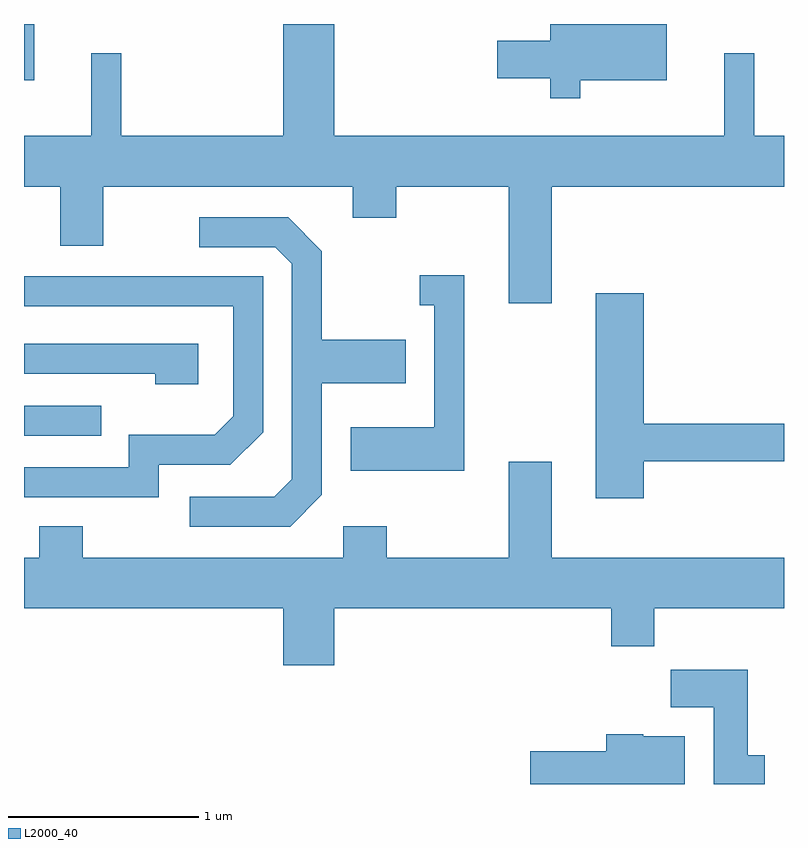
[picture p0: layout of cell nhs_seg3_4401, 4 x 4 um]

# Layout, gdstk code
import gdstk
lib = gdstk.Library(unit=1e-6, precision=1e-09)
def R(c, l, rs):  # rectangles x0, y0, x1, y1
    for r in rs: c.add(gdstk.rectangle(r[:2], r[2:], *l))
def P(c, l, *ps):  # polygons
    for p in ps: c.add(gdstk.Polygon(p, *l))
L2000_40 = (2000, 40)

nhs_seg3_4401 = lib.new_cell('nhs_seg3_4401')
R(nhs_seg3_4401, L2000_40, [(313.611,1215.726,314.018,1215.884), (313.611,1217.596,313.664,1217.892)])
P(nhs_seg3_4401, L2000_40, [(313.966,1217.304),(313.611,1217.304),(313.611,1217.036),(313.801,1217.036),(313.801,1216.726),(314.029,1216.726),(314.029,1217.036),(315.341,1217.036),(315.341,1216.871),(315.569,1216.871),(315.569,1217.036),(316.161,1217.036),(316.161,1216.421),(316.389,1216.421),(316.389,1217.036),(317.611,1217.036),(317.611,1217.304),(317.454,1217.304),(317.454,1217.738),(317.296,1217.738),(317.296,1217.304),(315.244,1217.304),(315.244,1217.892),(314.976,1217.892),(314.976,1217.304),(314.124,1217.304),(314.124,1217.738),(313.966,1217.738)],
  [(316.539,1217.596),(316.994,1217.596),(316.994,1217.892),(316.381,1217.892),(316.381,1217.804),(316.101,1217.804),(316.101,1217.606),(316.381,1217.606),(316.381,1217.501),(316.539,1217.501)],
  [(315.179,1215.414),(315.179,1216.001),(315.619,1216.001),(315.619,1216.229),(315.179,1216.229),(315.179,1216.697),(315.002,1216.874),(314.533,1216.874),(314.533,1216.716),(314.934,1216.716),(315.021,1216.629),(315.021,1215.497),(314.929,1215.404),(314.483,1215.404),(314.483,1215.246),(315.012,1215.246)],
  [(315.929,1216.569),(315.693,1216.569),(315.693,1216.411),(315.771,1216.411),(315.771,1215.769),(315.331,1215.769),(315.331,1215.541),(315.929,1215.541)],
  [(314.319,1215.571),(314.697,1215.571),(314.869,1215.744),(314.869,1216.564),(313.611,1216.564),(313.611,1216.406),(314.711,1216.406),(314.711,1215.827),(314.614,1215.729),(314.161,1215.729),(314.161,1215.559),(313.611,1215.559),(313.611,1215.401),(314.319,1215.401)],
  [(316.874,1215.591),(317.611,1215.591),(317.611,1215.789),(316.874,1215.789),(316.874,1216.474),(316.621,1216.474),(316.621,1215.396),(316.874,1215.396)],
  [(314.529,1216.209),(313.611,1216.209),(313.611,1216.051),(314.301,1216.051),(314.301,1215.996),(314.529,1215.996)],
  [(315.244,1214.816),(316.701,1214.816),(316.701,1214.616),(316.929,1214.616),(316.929,1214.816),(317.611,1214.816),(317.611,1215.084),(316.389,1215.084),(316.389,1215.589),(316.161,1215.589),(316.161,1215.084),(315.519,1215.084),(315.519,1215.249),(315.291,1215.249),(315.291,1215.084),(313.919,1215.084),(313.919,1215.249),(313.691,1215.249),(313.691,1215.084),(313.611,1215.084),(313.611,1214.816),(314.976,1214.816),(314.976,1214.516),(315.244,1214.516)],
  [(317.509,1214.044),(317.419,1214.044),(317.419,1214.494),(317.016,1214.494),(317.016,1214.296),(317.241,1214.296),(317.241,1213.892),(317.509,1213.892)],
  [(317.089,1214.144),(316.87,1214.144),(316.87,1214.154),(316.676,1214.154),(316.676,1214.064),(316.276,1214.064),(316.276,1213.892),(317.089,1213.892)])

lib.write_gds('nhs_seg3_4401.gds')
